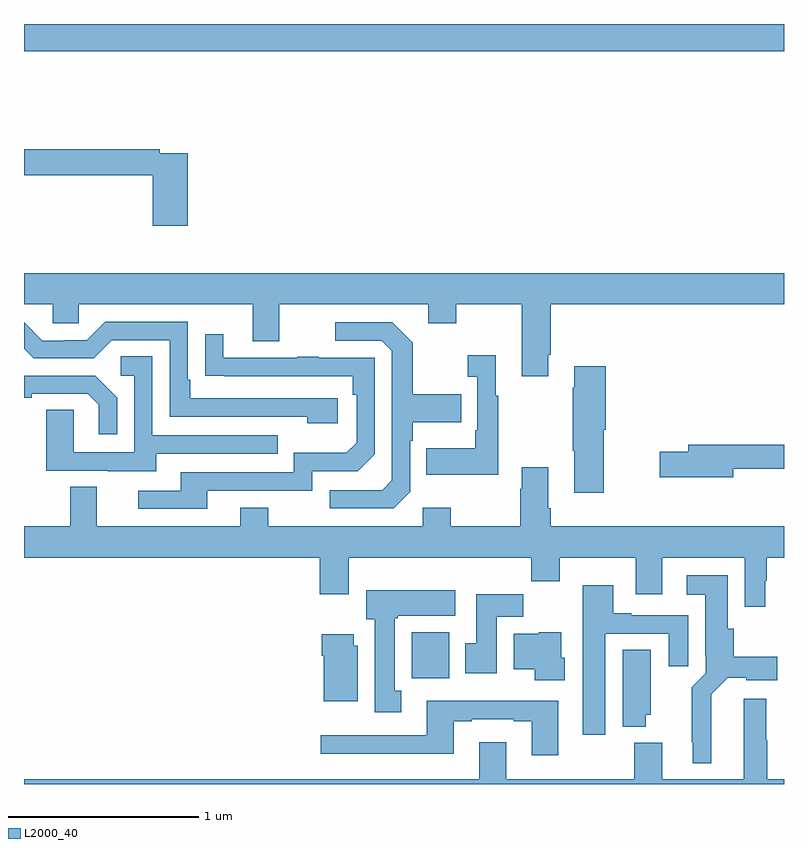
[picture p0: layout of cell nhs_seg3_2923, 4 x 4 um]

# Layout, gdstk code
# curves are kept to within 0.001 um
import gdstk
lib = gdstk.Library(unit=1e-6, precision=1e-09)
def R(c, l, rs):  # rectangles x0, y0, x1, y1
    for r in rs: c.add(gdstk.rectangle(r[:2], r[2:], *l))
def P(c, l, *ps):  # polygons
    for p in ps: c.add(gdstk.Polygon(p, *l))
L2000_40 = (2000, 40)

nhs_seg3_2923 = lib.new_cell('nhs_seg3_2923')
R(nhs_seg3_2923, L2000_40, [(265.04,690.956,265.237,691.198), (263,694.256,267,694.4)])
P(nhs_seg3_2923, L2000_40, [(263.861,693.72),(263.714,693.72),(263.714,693.74),(263,693.74),(263,693.604),(263.678,693.604),(263.678,693.339),(263.861,693.339)],
  [(265.759,692.659),(265.772,692.659),(265.772,692.924),(267,692.924),(267,693.088),(263,693.088),(263,692.924),(263.151,692.924),(263.151,692.826),(263.289,692.826),(263.289,692.924),(264.203,692.924),(264.203,692.73),(264.343,692.73),(264.343,692.924),(265.127,692.924),(265.127,692.825),(265.275,692.825),(265.275,692.924),(265.619,692.924),(265.619,692.547),(265.759,692.547)],
  [(264.652,692.43),(263.875,692.43),(263.875,692.527),(263.862,692.527),(263.862,692.832),(263.427,692.832),(263.331,692.736),(263.213,692.736),(263.213,692.733),(263.097,692.733),(263,692.83),(263,692.692),(263.052,692.64),(263.367,692.64),(263.463,692.736),(263.766,692.736),(263.766,692.334),(264.491,692.334),(264.491,692.3),(264.652,692.3)],
  [(265.032,691.938),(265.032,692.207),(265.045,692.207),(265.045,692.303),(265.301,692.303),(265.301,692.451),(265.045,692.451),(265.045,692.723),(264.939,692.829),(264.639,692.829),(264.639,692.733),(264.882,692.733),(264.936,692.679),(264.936,691.998),(264.885,691.947),(264.609,691.947),(264.609,691.851),(264.945,691.851)],
  [(263.965,691.944),(264.516,691.944),(264.516,692.046),(264.756,692.046),(264.846,692.136),(264.846,692.643),(264.551,692.643),(264.551,692.648),(264.439,692.648),(264.439,692.643),(264.049,692.643),(264.049,692.767),(263.953,692.767),(263.953,692.548),(264.73,692.547),(264.73,692.45),(264.75,692.45),(264.75,692.196),(264.697,692.143),(264.42,692.143),(264.42,692.04),(263.825,692.04),(263.825,691.944),(263.601,691.944),(263.601,691.848),(263.965,691.848)],
  [(265.495,692.443),(265.483,692.443),(265.483,692.656),(265.335,692.656),(265.335,692.543),(265.386,692.543),(265.386,692.263),(265.374,692.263),(265.374,692.167),(265.117,692.167),(265.117,692.027),(265.495,692.027)],
  [(263.695,692.139),(264.335,692.139),(264.335,692.235),(263.676,692.235),(263.676,692.651),(263.508,692.651),(263.508,692.55),(263.58,692.55),(263.58,692.145),(263.262,692.145),(263.262,692.369),(263.117,692.369),(263.117,692.049),(263.441,692.049),(263.441,692.045),(263.695,692.045)],
  [(266.05,692.265),(266.063,692.265),(266.063,692.599),(265.895,692.599),(265.895,692.486),(265.888,692.486),(265.888,692.155),(265.895,692.155),(265.895,691.932),(266.05,691.932)],
  [(263.49,692.434),(263.374,692.55),(263.002,692.55),(263.002,692.547),(263,692.547),(263,692.432),(263.041,692.432),(263.041,692.454),(263.336,692.454),(263.393,692.397),(263.393,692.241),(263.49,692.241)],
  [(266.734,692.058),(267,692.058),(267,692.186),(266.495,692.186),(266.495,692.15),(266.346,692.15),(266.346,692.015),(266.734,692.015)],
  [(264.557,691.398),(264.709,691.398),(264.709,691.592),(265.669,691.592),(265.669,691.468),(265.821,691.468),(265.821,691.592),(266.219,691.592),(266.219,691.398),(266.359,691.398),(266.359,691.592),(266.793,691.592),(266.793,691.332),(266.902,691.332),(266.902,691.47),(266.909,691.47),(266.909,691.592),(267,691.592),(267,691.756),(265.772,691.756),(265.772,691.852),(265.759,691.852),(265.759,692.068),(265.619,692.068),(265.619,691.955),(265.612,691.955),(265.612,691.756),(265.245,691.756),(265.245,691.855),(265.098,691.855),(265.098,691.756),(264.285,691.756),(264.285,691.855),(264.137,691.855),(264.137,691.756),(263.383,691.756),(263.383,691.964),(263.243,691.964),(263.243,691.756),(263,691.756),(263,691.592),(264.557,691.592)],
  [(266.617,690.872),(266.703,690.959),(266.802,690.959),(266.802,690.947),(266.965,690.947),(266.965,691.069),(266.735,691.069),(266.735,691.218),(266.704,691.218),(266.704,691.498),(266.487,691.498),(266.487,691.397),(266.585,691.397),(266.585,691.078),(266.589,691.078),(266.589,690.984),(266.515,690.91),(266.515,690.619),(266.519,690.619),(266.519,690.509),(266.617,690.509)],
  [(266.059,691.191),(266.393,691.191),(266.393,691.02),(266.497,691.02),(266.497,691.287),(266.197,691.287),(266.197,691.3),(266.101,691.3),(266.101,691.447),(265.94,691.447),(265.94,690.66),(266.059,690.66)],
  [(264.985,690.89),(264.952,690.89),(264.952,691.273),(264.966,691.273),(264.966,691.286),(265.27,691.286),(265.27,691.42),(264.8,691.42),(264.8,691.266),(264.845,691.266),(264.845,690.777),(264.985,690.777)],
  [(265.489,691.28),(265.628,691.28),(265.628,691.399),(265.379,691.399),(265.379,691.14),(265.322,691.14),(265.322,690.984),(265.489,690.984)],
  [(265.846,691.065),(265.828,691.065),(265.828,691.198),(265.71,691.198),(265.71,691.192),(265.577,691.192),(265.577,691.004),(265.688,691.004),(265.688,690.947),(265.846,690.947)],
  [(264.757,691.128),(264.736,691.128),(264.736,691.189),(264.566,691.189),(264.566,691.076),(264.578,691.076),(264.578,690.836),(264.757,690.836)],
  [(266.272,690.765),(266.299,690.765),(266.299,691.106),(266.15,691.106),(266.15,690.701),(266.272,690.701)],
  [(267,690.424),(266.912,690.424),(266.912,690.629),(266.907,690.629),(266.907,690.85),(266.789,690.85),(266.789,690.424),(266.359,690.424),(266.359,690.616),(266.212,690.616),(266.212,690.424),(265.537,690.424),(265.537,690.619),(265.397,690.619),(265.397,690.424),(263,690.424),(263,690.4),(267,690.4)],
  [(265.813,690.838),(265.121,690.838),(265.121,690.657),(264.561,690.657),(264.561,690.56),(265.261,690.56),(265.261,690.729),(265.357,690.729),(265.357,690.741),(265.577,690.741),(265.577,690.729),(265.673,690.729),(265.673,690.552),(265.813,690.552)])

lib.write_gds('nhs_seg3_2923.gds')
